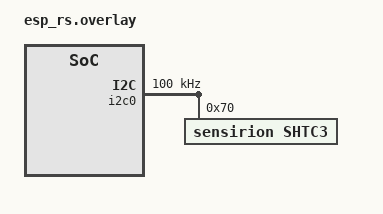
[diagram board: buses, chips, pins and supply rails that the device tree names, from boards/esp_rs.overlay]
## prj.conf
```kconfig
CONFIG_LOG=y
CONFIG_SHELL=y
CONFIG_I2C=y
CONFIG_SENSOR=y
# CONFIG_SENSOR_SHELL=y
```

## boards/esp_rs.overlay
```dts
&pinctrl {
	i2c0_default: i2c0_default {
		group1 {
			pinmux = <I2C0_SDA_GPIO10>,
				 <I2C0_SCL_GPIO8>;
			bias-pull-up;
			drive-open-drain;
			output-high;
		};
	};
};

&i2c0 {
	status = "okay";
	clock-frequency = <I2C_BITRATE_STANDARD>;
	pinctrl-0 = <&i2c0_default>;
	pinctrl-names = "default";

	shtc3@70 {
		compatible = "sensirion,shtc3", "sensirion,shtcx";
		reg = <0x70>;
		measure-mode = "normal";
		clock-stretching;
	};
};
```

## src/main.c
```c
/*
 * Copyright (c) 2017 Linaro Limited
 *
 * SPDX-License-Identifier: Apache-2.0
 */

#include <zephyr/kernel.h>
#include <zephyr/device.h>
#include <zephyr/drivers/gpio.h>
#include <zephyr/drivers/sensor.h>
#include <zephyr/logging/log.h>

LOG_MODULE_REGISTER(app);

int main(void)
{
	const struct device *const sensor = DEVICE_DT_GET(DT_INST(0, sensirion_shtc3));

	if (!device_is_ready(sensor)) {
		LOG_ERR("SHTC3 sensor device %s is not ready", sensor->name);
		return -EIO;
	}

	while (1) {
		struct sensor_value temp;
		struct sensor_value hum;

		int rc = sensor_sample_fetch(sensor);
		if (rc) {
			LOG_ERR("Error %d: failed to fetch sample", rc);
			return -EIO;
		}

		rc = sensor_channel_get(sensor, SENSOR_CHAN_AMBIENT_TEMP, &temp);
		if (rc) {
			LOG_ERR("Error %d: failed to get temperature", rc);
			return -EIO;
		}

		rc = sensor_channel_get(sensor, SENSOR_CHAN_HUMIDITY, &hum);
		if (rc) {
			LOG_ERR("Error %d: failed to get humidity", rc);
			return -EIO;
		}

		LOG_INF("Temperature: %d.%06d C", temp.val1, temp.val2);
		LOG_INF("Humidity: %d.%06d %%", hum.val1, hum.val2);

		k_msleep(500);
	}
}
```
